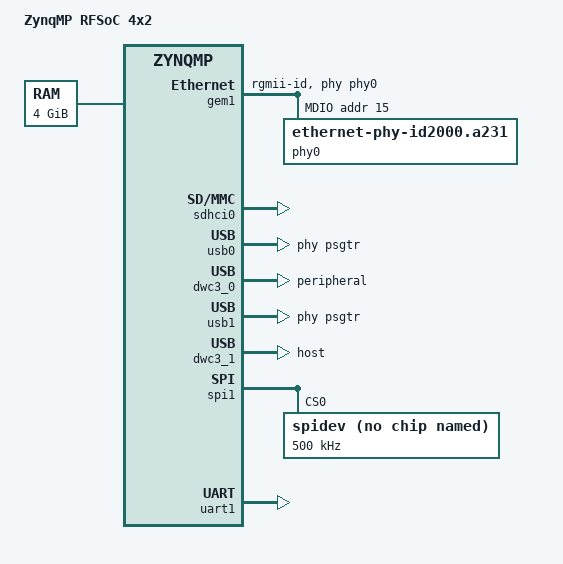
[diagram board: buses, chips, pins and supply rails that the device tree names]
// SPDX-License-Identifier: GPL-2.0+
/*
* dts file for Realdigital RFSoC 4x2
*
* Updated by Jay Convertino, AFRL
* (C) Copyright 2017 - 2019, Xilinx, Inc.
*
* Michal Simek <michal.simek@xilinx.com>
*/

/dts-v1/;

#include "zynqmp.dtsi"
#include "zynqmp-clk-ccf.dtsi"
#include <dt-bindings/input/input.h>
#include <dt-bindings/gpio/gpio.h>
#include <dt-bindings/pinctrl/pinctrl-zynqmp.h>
#include <dt-bindings/phy/phy.h>

/ {
  model = "ZynqMP RFSoC 4x2";
  compatible = "xlnx,zynqmp-rfsoc-4x2", "xlnx,zynqmp";

  aliases {
    ethernet0 = &gem1;
    gpio0 = &gpio;
    i2c0 = &i2c0;
    i2c1 = &i2c1;
    mmc0 = &sdhci0;
    serial0 = &uart1;
    usb0 = &usb0;
  };

  chosen {
    bootargs = "earlycon";
    stdout-path = "serial0:115200n8";
  };

  memory@0 {
    device_type = "memory";
    reg = <0x0 0x0 0x0 0x80000000>, <0x8 0x00000000 0x0 0x80000000>;
  };
  
  dp_clk:psgtr_dp_clock {
    compatible = "fixed-clock";
    #clock-cells = <0x00>;
    clock-frequency = <27000000>;
  };

  usb_clk:psgtr_usb_clock {
    compatible = "fixed-clock";
    #clock-cells = <0x00>;
    clock-frequency = <26000000>;
  };
};

&gem1 {
	status = "okay";
	phy-handle = <&phy0>;
	phy-mode = "rgmii-id";
	mdio: mdio {
		#address-cells = <1>;
		#size-cells = <0>;
		phy0: ethernet-phy@15 {
			#phy-cells = <1>;
			compatible = "ethernet-phy-id2000.a231";
			reg = <15>;
			ti,rx-internal-delay = <0x8>;
			ti,tx-internal-delay = <0xa>;
			ti,fifo-depth = <0x1>;
			ti,dp83867-rxctrl-strap-quirk;
		};
	};
};

&sdhci0 {
  status = "okay";
  no-1-8-v;
};

&psgtr {
      /* dp 0-1, usb0, usb1 */
      clocks = <&usb_clk>, <&dp_clk>;
      clock-names = "ref0", "ref1";
};

&zynqmp_dpsub {
  phys = <&psgtr 1 PHY_TYPE_DP 0 1>, <&psgtr 0 PHY_TYPE_DP 1 1>;
};

&usb0 {
  status = "okay";
  phys = <&psgtr 2 PHY_TYPE_USB3 0 1>;
};

&dwc3_0 {
  status = "okay";
  dr_mode = "peripheral";
  snps,usb3_lpm_capable;
  phy-names = "usb3-phy";
  maximum-speed = "super-speed";
};

&usb1 {
  status = "okay";
  phys = <&psgtr 3 PHY_TYPE_USB3 1 1>;
};

&dwc3_1 {
  status = "okay";
  dr_mode = "host";
  snps,usb3_lpm_capable;
  phy-names = "usb3-phy";
  maximum-speed = "super-speed";
};

&spi1 {
  spidev@0 {
    compatible = "rohm,dh2228fv";
    reg = <0>;
    spi-max-frequency = <500000>;
  };
};

&uart1 {
  status = "okay";
};
